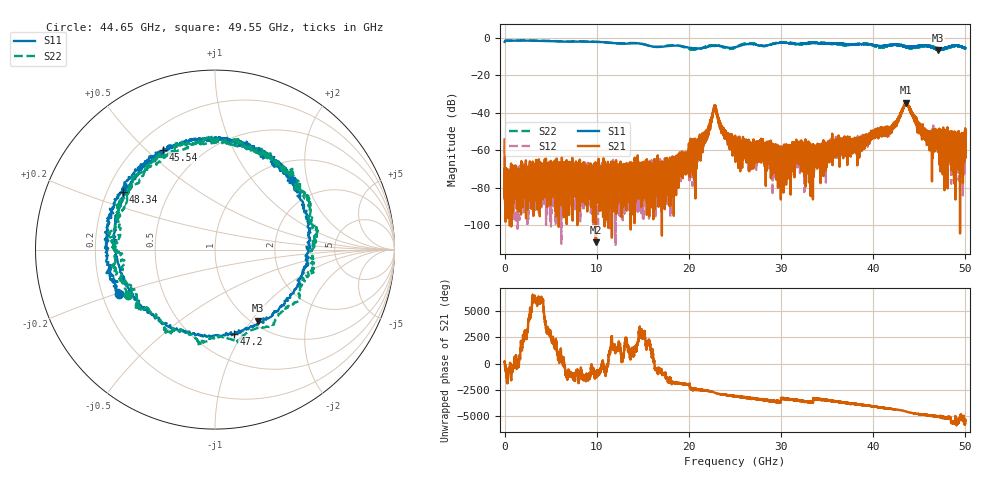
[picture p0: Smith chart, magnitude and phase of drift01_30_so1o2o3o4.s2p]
!Created with skrf (http://scikit-rf.org).
# Hz S RI R 50.0
!freq ReS11 ImS11 ReS21 ImS21 ReS12 ImS12 ReS22 ImS22
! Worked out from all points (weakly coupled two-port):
!   10001 points, 300 kHz to 50 GHz, reference 50 ohm
!   highest |S21| = -34.51 dB at 43.53 GHz (marker M1); lowest = -109.1 dB at 9.89 GHz (marker M2)
!   lowest |S11| = -6.7 dB at 47.07 GHz (marker M3), VSWR 2.72, Z = 53.5 - j53.9 ohm
!   |S11| at or under -10 dB: nowhere
!   |S22| runs from -6.4 to -1.4 dB; largest |S21 - S12| = 0.004
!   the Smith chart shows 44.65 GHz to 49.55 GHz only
!   S11 on the Smith chart (normalised r, x): 44.65 GHz: 0.27, -0.20; 45.54 GHz: 0.31, +0.56; 47.2 GHz: 0.75, -0.92; 48.34 GHz: 0.27, +0.27; 49.55 GHz: 1.39, +1.63
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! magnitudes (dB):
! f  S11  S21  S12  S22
! 300 kHz  -2.1  -54.2  -57.1  -2.2
! 255.3 MHz  -1.4  -78.9  -80.3  -1.4
! 460.3 MHz  -1.4  -76.1  -81.9  -1.4
! 8.335 GHz  -1.9  -73.1  -74.0  -1.8
! 9.89 GHz  -2.1  -109.1  -105.1  -2.0
! 16.67 GHz  -4.8  -77.9  -73.2  -4.8
! 20.78 GHz  -5.6  -56.3  -56.8  -6.2
! 21.76 GHz  -5.1  -51.9  -56.2  -4.8
! 22.81 GHz  -4.3  -36.3  -36.4  -4.0
! 23.72 GHz  -4.6  -49.8  -50.1  -4.9
! 25 GHz  -5.0  -54.7  -57.2  -5.1
! 29.02 GHz  -3.3  -62.0  -60.3  -3.3
! 33.34 GHz  -2.6  -59.7  -60.7  -2.7
! 41.67 GHz  -3.9  -48.3  -49.3  -4.2
! 43.53 GHz  -4.9  -34.5  -35.1  -5.0
! 44.65 GHz  -4.6  -46.1  -44.2  -5.2
! 45.54 GHz  -4.1  -52.3  -51.6  -4.5
! 47.07 GHz  -6.7  -54.0  -53.3  -5.5
! 47.2 GHz  -6.3  -56.0  -51.9  -6.0
! 48.34 GHz  -4.4  -55.7  -57.7  -5.0
! 49.55 GHz  -4.8  -66.9  -55.0  -4.8
! 50 GHz  -5.6  -55.6  -54.7  -5.3
